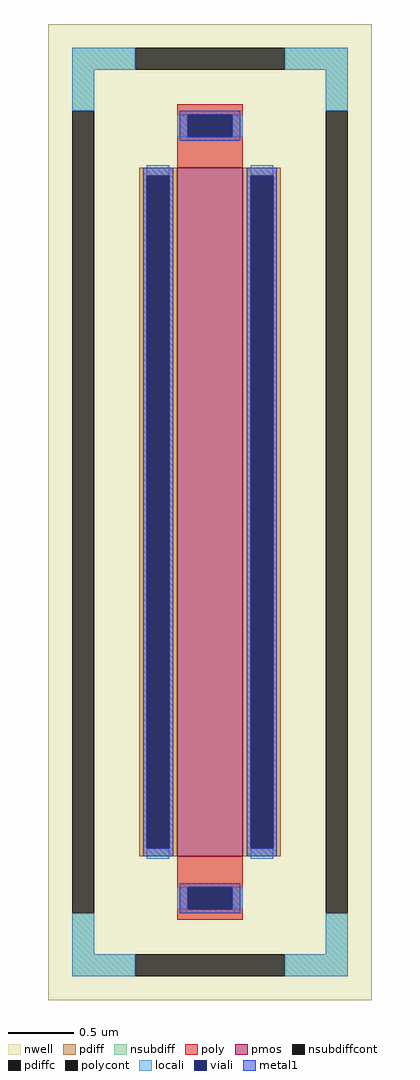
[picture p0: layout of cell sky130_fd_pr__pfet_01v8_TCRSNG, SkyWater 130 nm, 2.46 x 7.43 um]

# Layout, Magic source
magic
tech sky130A
magscale 1 2
<< nwell >>
rect -246 -743 246 743
<< pmos >>
rect -50 -524 50 524
<< pdiff >>
rect -108 512 -50 524
rect -108 -512 -96 512
rect -62 -512 -50 512
rect -108 -524 -50 -512
rect 50 512 108 524
rect 50 -512 62 512
rect 96 -512 108 512
rect 50 -524 108 -512
<< pdiffc >>
rect -96 -512 -62 512
rect 62 -512 96 512
<< nsubdiff >>
rect -210 673 -114 707
rect 114 673 210 707
rect -210 611 -176 673
rect 176 611 210 673
rect -210 -673 -176 -611
rect 176 -673 210 -611
rect -210 -707 -114 -673
rect 114 -707 210 -673
<< nsubdiffcont >>
rect -114 673 114 707
rect -210 -611 -176 611
rect 176 -611 210 611
rect -114 -707 114 -673
<< poly >>
rect -50 605 50 621
rect -50 571 -34 605
rect 34 571 50 605
rect -50 524 50 571
rect -50 -571 50 -524
rect -50 -605 -34 -571
rect 34 -605 50 -571
rect -50 -621 50 -605
<< polycont >>
rect -34 571 34 605
rect -34 -605 34 -571
<< locali >>
rect -210 673 -114 707
rect 114 673 210 707
rect -210 611 -176 673
rect 176 611 210 673
rect -50 571 -34 605
rect 34 571 50 605
rect -96 512 -62 528
rect -96 -528 -62 -512
rect 62 512 96 528
rect 62 -528 96 -512
rect -50 -605 -34 -571
rect 34 -605 50 -571
rect -210 -673 -176 -611
rect 176 -673 210 -611
rect -210 -707 -114 -673
rect 114 -707 210 -673
<< viali >>
rect -34 571 34 605
rect -96 -512 -62 512
rect 62 -512 96 512
rect -34 -605 34 -571
<< metal1 >>
rect -46 605 46 611
rect -46 571 -34 605
rect 34 571 46 605
rect -46 565 46 571
rect -102 512 -56 524
rect -102 -512 -96 512
rect -62 -512 -56 512
rect -102 -524 -56 -512
rect 56 512 102 524
rect 56 -512 62 512
rect 96 -512 102 512
rect 56 -524 102 -512
rect -46 -571 46 -565
rect -46 -605 -34 -571
rect 34 -605 46 -571
rect -46 -611 46 -605
<< properties >>
string FIXED_BBOX -193 -690 193 690
string gencell sky130_fd_pr__pfet_01v8
string library sky130
string parameters w 5.238 l 0.500 m 1 nf 1 diffcov 100 polycov 100 guard 1 glc 1 grc 1 gtc 1 gbc 1 tbcov 100 rlcov 100 topc 1 botc 1 poverlap 0 doverlap 1 lmin 0.15 wmin 0.42 compatible {sky130_fd_pr__pfet_01v8  sky130_fd_pr__pfet_01v8_lvt sky130_fd_pr__pfet_01v8_hvt  sky130_fd_pr__pfet_g5v0d10v5} full_metal 1 viasrc 100 viadrn 100 viagate 100 viagb 0 viagr 0 viagl 0 viagt 0
<< end >>
